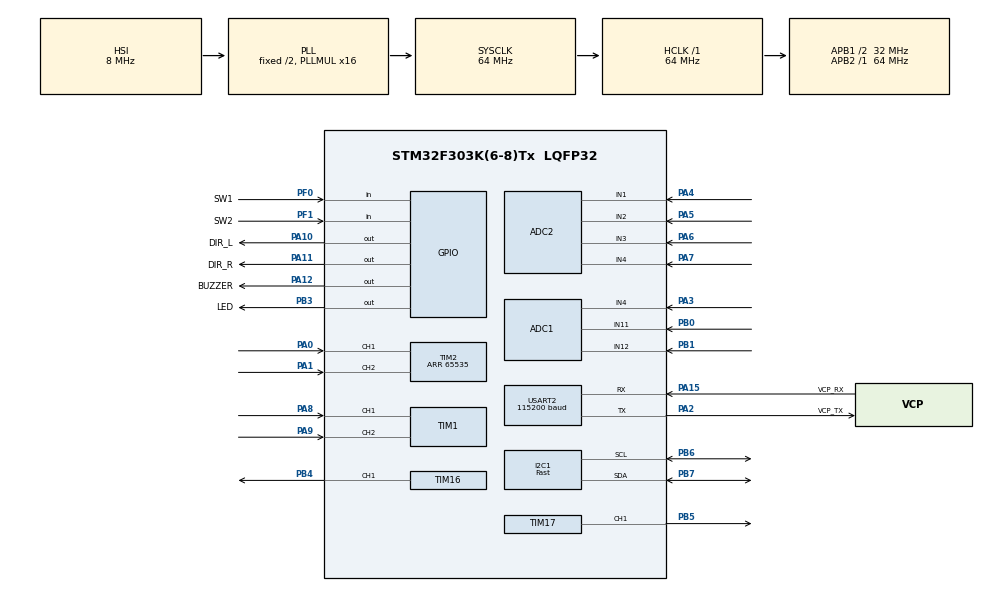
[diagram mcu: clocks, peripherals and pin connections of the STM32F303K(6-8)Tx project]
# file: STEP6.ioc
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ADC1.Channel-3\#ChannelRegularConversion=ADC_CHANNEL_4
ADC1.Channel-4\#ChannelRegularConversion=ADC_CHANNEL_11
ADC1.Channel-5\#ChannelRegularConversion=ADC_CHANNEL_12
ADC1.ContinuousConvMode=DISABLE
ADC1.DMAContinuousRequests=ENABLE
ADC1.DiscontinuousConvMode=ENABLE
ADC1.ExternalTrigConv=ADC_EXTERNALTRIGCONV_T3_TRGO
ADC1.NbrOfConversion=3
ADC1.NbrOfConversionFlag=1
ADC1.NbrOfDiscConversion=3
ADC1.Offset-3\#ChannelRegularConversion=0
ADC1.Offset-4\#ChannelRegularConversion=0
ADC1.Offset-5\#ChannelRegularConversion=0
ADC1.OffsetNumber-3\#ChannelRegularConversion=ADC_OFFSET_NONE
ADC1.OffsetNumber-4\#ChannelRegularConversion=ADC_OFFSET_NONE
ADC1.OffsetNumber-5\#ChannelRegularConversion=ADC_OFFSET_NONE
ADC1.Rank-3\#ChannelRegularConversion=1
ADC1.Rank-4\#ChannelRegularConversion=2
ADC1.Rank-5\#ChannelRegularConversion=3
ADC1.SamplingTime-3\#ChannelRegularConversion=ADC_SAMPLETIME_4CYCLES_5
ADC1.SamplingTime-4\#ChannelRegularConversion=ADC_SAMPLETIME_4CYCLES_5
ADC1.SamplingTime-5\#ChannelRegularConversion=ADC_SAMPLETIME_4CYCLES_5
ADC1.SubFamily=STM32F303x8
ADC1.master=1
ADC2.Channel-3\#ChannelRegularConversion=ADC_CHANNEL_1
ADC2.Channel-4\#ChannelRegularConversion=ADC_CHANNEL_2
ADC2.Channel-5\#ChannelRegularConversion=ADC_CHANNEL_3
ADC2.Channel-6\#ChannelRegularConversion=ADC_CHANNEL_4
ADC2.ContinuousConvMode=DISABLE
ADC2.DMAContinuousRequests=ENABLE
ADC2.DiscontinuousConvMode=ENABLE
ADC2.ExternalTrigConv=ADC_EXTERNALTRIGCONV_T3_TRGO
ADC2.NbrOfConversion=4
ADC2.NbrOfConversionFlag=1
ADC2.NbrOfDiscConversion=4
ADC2.Offset-3\#ChannelRegularConversion=0
ADC2.Offset-4\#ChannelRegularConversion=0
ADC2.Offset-5\#ChannelRegularConversion=0
ADC2.Offset-6\#ChannelRegularConversion=0
ADC2.OffsetNumber-3\#ChannelRegularConversion=ADC_OFFSET_NONE
ADC2.OffsetNumber-4\#ChannelRegularConversion=ADC_OFFSET_NONE
ADC2.OffsetNumber-5\#ChannelRegularConversion=ADC_OFFSET_NONE
ADC2.OffsetNumber-6\#ChannelRegularConversion=ADC_OFFSET_NONE
ADC2.Rank-3\#ChannelRegularConversion=1
ADC2.Rank-4\#ChannelRegularConversion=2
ADC2.Rank-5\#ChannelRegularConversion=3
ADC2.Rank-6\#ChannelRegularConversion=4
ADC2.SamplingTime-3\#ChannelRegularConversion=ADC_SAMPLETIME_4CYCLES_5
ADC2.SamplingTime-4\#ChannelRegularConversion=ADC_SAMPLETIME_4CYCLES_5
ADC2.SamplingTime-5\#ChannelRegularConversion=ADC_SAMPLETIME_4CYCLES_5
ADC2.SamplingTime-6\#ChannelRegularConversion=ADC_SAMPLETIME_4CYCLES_5
ADC2.SubFamily=STM32F303x8
Dma.ADC1.0.Direction=DMA_PERIPH_TO_MEMORY
Dma.ADC1.0.Instance=DMA1_Channel1
Dma.ADC1.0.MemDataAlignment=DMA_MDATAALIGN_HALFWORD
Dma.ADC1.0.MemInc=DMA_MINC_ENABLE
Dma.ADC1.0.Mode=DMA_CIRCULAR
Dma.ADC1.0.PeriphDataAlignment=DMA_PDATAALIGN_HALFWORD
Dma.ADC1.0.PeriphInc=DMA_PINC_DISABLE
Dma.ADC1.0.Priority=DMA_PRIORITY_LOW
Dma.ADC2.1.Direction=DMA_PERIPH_TO_MEMORY
Dma.ADC2.1.Instance=DMA1_Channel2
Dma.ADC2.1.MemDataAlignment=DMA_MDATAALIGN_HALFWORD
Dma.ADC2.1.MemInc=DMA_MINC_ENABLE
Dma.ADC2.1.Mode=DMA_CIRCULAR
Dma.ADC2.1.PeriphDataAlignment=DMA_PDATAALIGN_HALFWORD
Dma.ADC2.1.PeriphInc=DMA_PINC_DISABLE
Dma.ADC2.1.Priority=DMA_PRIORITY_LOW
Dma.I2C1_RX.2.Direction=DMA_PERIPH_TO_MEMORY
Dma.I2C1_RX.2.Instance=DMA1_Channel3
Dma.I2C1_RX.2.MemDataAlignment=DMA_MDATAALIGN_BYTE
Dma.I2C1_RX.2.MemInc=DMA_MINC_ENABLE
Dma.I2C1_RX.2.Mode=DMA_NORMAL
Dma.I2C1_RX.2.PeriphDataAlignment=DMA_PDATAALIGN_BYTE
Dma.I2C1_RX.2.PeriphInc=DMA_PINC_DISABLE
Dma.I2C1_RX.2.Priority=DMA_PRIORITY_LOW
Dma.I2C1_TX.3.Direction=DMA_MEMORY_TO_PERIPH
Dma.I2C1_TX.3.Instance=DMA1_Channel4
Dma.I2C1_TX.3.MemDataAlignment=DMA_MDATAALIGN_BYTE
Dma.I2C1_TX.3.MemInc=DMA_MINC_ENABLE
Dma.I2C1_TX.3.Mode=DMA_NORMAL
Dma.I2C1_TX.3.PeriphDataAlignment=DMA_PDATAALIGN_BYTE
Dma.I2C1_TX.3.PeriphInc=DMA_PINC_DISABLE
Dma.I2C1_TX.3.Priority=DMA_PRIORITY_LOW
Dma.Request0=ADC1
Dma.Request1=ADC2
Dma.Request2=I2C1_RX
Dma.Request3=I2C1_TX
I2C1.Analog_Filter=I2C_ANALOGFILTER_ENABLE
I2C1.I2C_Speed_Mode=I2C_Fast
I2C1.Speed=400
I2C1.Timing=0x0000020B
Mcu.Family=STM32F3
Mcu.Name=STM32F303K(6-8)Tx
Mcu.Package=LQFP32
NVIC.DMA1_Channel1_IRQn=true\:0\:0\:false\:false\:true\:false\:true\:true
NVIC.DMA1_Channel2_IRQn=true\:0\:0\:false\:false\:true\:false\:true\:true
NVIC.DMA1_Channel3_IRQn=true\:0\:0\:false\:false\:true\:false\:true\:true
NVIC.DMA1_Channel4_IRQn=true\:0\:0\:false\:false\:true\:false\:true\:true
NVIC.I2C1_EV_IRQn=true\:0\:0\:false\:false\:true\:true\:true\:true
NVIC.PriorityGroup=NVIC_PRIORITYGROUP_4
NVIC.TIM6_DAC1_IRQn=true\:0\:0\:false\:false\:true\:true\:true\:true
NVIC.TIM7_DAC2_IRQn=true\:0\:0\:false\:false\:true\:true\:true\:true
PA0.Signal=S_TIM2_CH1_ETR
PA1.Signal=S_TIM2_CH2
PA10.GPIO_Label=DIR_L
PA10.Signal=GPIO_Output
PA11.GPIO_Label=DIR_R
PA11.Signal=GPIO_Output
PA12.GPIO_Label=BUZZER
PA12.Signal=GPIO_Output
PA13.GPIO_Label=SWDIO
PA13.Mode=Serial_Wire
PA13.Signal=SYS_JTMS-SWDIO
PA14.GPIO_Label=SWCLK
PA14.Mode=Serial_Wire
PA14.Signal=SYS_JTCK-SWCLK
PA15.GPIO_Label=VCP_RX
PA15.Mode=Asynchronous
PA15.Signal=USART2_RX
PA2.GPIO_Label=VCP_TX
PA2.Mode=Asynchronous
PA2.Signal=USART2_TX
PA3.Mode=IN4-Single-Ended
PA3.Signal=ADC1_IN4
PA4.Mode=IN1-Single-Ended
PA4.Signal=ADC2_IN1
PA5.Mode=IN2-Single-Ended
PA5.Signal=ADC2_IN2
PA6.Mode=IN3-Single-Ended
PA6.Signal=ADC2_IN3
PA7.Mode=IN4-Single-Ended
PA7.Signal=ADC2_IN4
PA8.Signal=S_TIM1_CH1
PA9.Signal=S_TIM1_CH2
PB0.Mode=IN11-Single-Ended
PB0.Signal=ADC1_IN11
PB1.Mode=IN12-Single-Ended
PB1.Signal=ADC1_IN12
PB3.GPIO_Label=LED
PB3.Signal=GPIO_Output
PB4.Signal=S_TIM16_CH1
PB5.Signal=S_TIM17_CH1
PB6.GPIO_Pu=GPIO_PULLUP
PB6.Mode=I2C
PB6.Signal=I2C1_SCL
PB7.GPIO_Pu=GPIO_PULLUP
PB7.Mode=I2C
PB7.Signal=I2C1_SDA
PF0\ /\ OSC_IN.GPIO_Label=SW1
PF0\ /\ OSC_IN.GPIO_PuPd=GPIO_PULLUP
PF0\ /\ OSC_IN.Signal=GPIO_Input
PF1\ /\ OSC_OUT.GPIO_Label=SW2
PF1\ /\ OSC_OUT.GPIO_PuPd=GPIO_PULLUP
PF1\ /\ OSC_OUT.Signal=GPIO_Input
ProjectManager.HeapSize=0x200
ProjectManager.StackSize=0x400
ProjectManager.TargetToolchain=STM32CubeIDE
RCC.AHBFreq_Value=64000000
RCC.APB1CLKDivider=RCC_HCLK_DIV2
RCC.APB1Freq_Value=32000000
RCC.APB1TimFreq_Value=64000000
RCC.APB2Freq_Value=64000000
RCC.APB2TimFreq_Value=64000000
RCC.CortexFreq_Value=64000000
RCC.HCLKFreq_Value=64000000
RCC.HSE_VALUE=8000000
RCC.HSI_VALUE=8000000
RCC.PLLMUL=RCC_PLL_MUL16
RCC.SYSCLKFreq_VALUE=64000000
RCC.SYSCLKSourceVirtual=RCC_SYSCLKSOURCE_PLLCLK
SH.S_TIM16_CH1.0=TIM16_CH1,PWM Generation1 CH1
SH.S_TIM17_CH1.0=TIM17_CH1,PWM Generation1 CH1
SH.S_TIM1_CH1.0=TIM1_CH1,Encoder_Interface
SH.S_TIM1_CH2.0=TIM1_CH2,Encoder_Interface
SH.S_TIM2_CH1_ETR.0=TIM2_CH1,Encoder_Interface
SH.S_TIM2_CH2.0=TIM2_CH2,Encoder_Interface
TIM1.AutoReloadPreload=TIM_AUTORELOAD_PRELOAD_ENABLE
TIM1.EncoderMode=TIM_ENCODERMODE_TI12
TIM16.AutoReloadPreload=TIM_AUTORELOAD_PRELOAD_ENABLE
TIM16.Channel=TIM_CHANNEL_1
TIM16.Period=3199
TIM16.Pulse=599
TIM17.AutoReloadPreload=TIM_AUTORELOAD_PRELOAD_ENABLE
TIM17.Channel=TIM_CHANNEL_1
TIM17.Period=3199
TIM17.Prescaler=0
TIM17.Pulse=599
TIM2.AutoReloadPreload=TIM_AUTORELOAD_PRELOAD_ENABLE
TIM2.EncoderMode=TIM_ENCODERMODE_TI12
TIM2.Period=65535
TIM3.AutoReloadPreload=TIM_AUTORELOAD_PRELOAD_ENABLE
TIM3.Period=999
TIM3.Prescaler=63
TIM3.TIM_MasterOutputTrigger=TIM_TRGO_UPDATE
TIM6.AutoReloadPreload=TIM_AUTORELOAD_PRELOAD_ENABLE
TIM6.Period=499
TIM6.Prescaler=63
TIM7.AutoReloadPreload=TIM_AUTORELOAD_PRELOAD_ENABLE
TIM7.Period=9999
TIM7.Prescaler=63
USART2.BaudRate=115200
USART2.VirtualMode-Asynchronous=VM_ASYNC
VP_TIM16_VS_ClockSourceINT.Mode=Enable_Timer
VP_TIM17_VS_ClockSourceINT.Mode=Enable_Timer
VP_TIM3_VS_ClockSourceINT.Mode=Internal
VP_TIM6_VS_ClockSourceINT.Mode=Enable_Timer
VP_TIM7_VS_ClockSourceINT.Mode=Enable_Timer
board=NUCLEO-F303K8

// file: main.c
/* USER CODE BEGIN Header */
/**
  ******************************************************************************
  * @file           : main.c
  * @brief          : Main program body
  ******************************************************************************
  * @attention
  *
  * Copyright (c) 2020 RT Corporation
  * License: Apache License, Version 2.0
  * https://www.apache.org/licenses/LICENSE-2.0
  *
  * This file is licensed the Apache License, Version 2.0.
  * This file is based on the auto generated template .c file
  * released by STMicroelectronics licensed under the BSD 3-Clause License.
  *
  *=*=*=*=*=*=*=*=*=*=*=*=*=*=*=*=*=*=*=*=*=*=*=*=*=*=*=*=*=*=*=*=*=*=*=*=*=*=
  * <h2><center>&copy; Copyright (c) 2020 STMicroelectronics.
  * All rights reserved.</center></h2>
  *
  * This software component is licensed by ST under BSD 3-Clause license,
  * the "License"; You may not use this file except in compliance with the
  * License. You may obtain a copy of the License at:
  *                        opensource.org/licenses/BSD-3-Clause
  *=*=*=*=*=*=*=*=*=*=*=*=*=*=*=*=*=*=*=*=*=*=*=*=*=*=*=*=*=*=*=*=*=*=*=*=*=*=
  *
  ******************************************************************************
  */
/* USER CODE END Header */
#include "main.h"

/* USER CODE BEGIN PD */
#define CW_R 0
#define CCW_R 1
#define CW_L 1
#define CCW_L 0
/* USER CODE END PD */

ADC_HandleTypeDef hadc1;
ADC_HandleTypeDef hadc2;
DMA_HandleTypeDef hdma_adc1;
DMA_HandleTypeDef hdma_adc2;

I2C_HandleTypeDef hi2c1;
DMA_HandleTypeDef hdma_i2c1_rx;
DMA_HandleTypeDef hdma_i2c1_tx;

TIM_HandleTypeDef htim1;
TIM_HandleTypeDef htim2;
TIM_HandleTypeDef htim3;
TIM_HandleTypeDef htim6;
TIM_HandleTypeDef htim7;
TIM_HandleTypeDef htim16;
TIM_HandleTypeDef htim17;

UART_HandleTypeDef huart2;

void SystemClock_Config(void);
static void MX_GPIO_Init(void);
static void MX_DMA_Init(void);
static void MX_USART2_UART_Init(void);
static void MX_I2C1_Init(void);
static void MX_TIM2_Init(void);
static void MX_TIM17_Init(void);
static void MX_ADC1_Init(void);
static void MX_ADC2_Init(void);
static void MX_TIM3_Init(void);
static void MX_TIM6_Init(void);
static void MX_TIM7_Init(void);
static void MX_TIM16_Init(void);
static void MX_TIM1_Init(void);
/* USER CODE BEGIN PFP */

int pwm = 0;

/* USER CODE END PFP */

int main(void)
{

  /* MCU Configuration--------------------------------------------------------*/

  /* Reset of all peripherals, Initializes the Flash interface and the Systick. */
  HAL_Init();

  /* Configure the system clock */
  SystemClock_Config();

  /* Initialize all configured peripherals */
  MX_GPIO_Init();
  MX_DMA_Init();
  MX_USART2_UART_Init();
  MX_I2C1_Init();
  MX_TIM2_Init();
  MX_TIM17_Init();
  MX_ADC1_Init();
  MX_ADC2_Init();
  MX_TIM3_Init();
  MX_TIM6_Init();
  MX_TIM7_Init();
  MX_TIM16_Init();
  MX_TIM1_Init();
  /* USER CODE BEGIN 2 */
  HAL_GPIO_WritePin(DIR_R_GPIO_Port, DIR_R_Pin, CW_R);
  HAL_GPIO_WritePin(DIR_L_GPIO_Port, DIR_L_Pin, CW_L);
  HAL_TIM_PWM_Start(&htim16, TIM_CHANNEL_1);
  HAL_TIM_PWM_Start(&htim17, TIM_CHANNEL_1);
  TIM16->CCR1 = 0;
  TIM17->CCR1 = 0;

  /* USER CODE END 2 */

  /* Infinite loop */
  /* USER CODE BEGIN WHILE */
  while (1) {
    if (HAL_GPIO_ReadPin(SW1_GPIO_Port, SW1_Pin) == 0) {
      HAL_Delay(200);
      pwm += 128;
      if (pwm > 3199) {
        pwm = 3199;
      }
      TIM16->CCR1 = pwm;
      TIM17->CCR1 = pwm;
    }
    if (HAL_GPIO_ReadPin(SW2_GPIO_Port, SW2_Pin) == 0) {
      HAL_Delay(200);
      pwm -= 128;
      if (pwm < 0) {
        pwm = 0;
      }
      TIM16->CCR1 = pwm;
      TIM17->CCR1 = pwm;
    }

    /* USER CODE END WHILE */

  }
}

void SystemClock_Config(void)
{
  RCC_OscInitTypeDef RCC_OscInitStruct = {0};
  RCC_ClkInitTypeDef RCC_ClkInitStruct = {0};
  RCC_PeriphCLKInitTypeDef PeriphClkInit = {0};

  /** Initializes the RCC Oscillators according to the specified parameters
  * in the RCC_OscInitTypeDef structure.
  */
  RCC_OscInitStruct.OscillatorType = RCC_OSCILLATORTYPE_HSI;
  RCC_OscInitStruct.HSIState = RCC_HSI_ON;
  RCC_OscInitStruct.HSICalibrationValue = RCC_HSICALIBRATION_DEFAULT;
  RCC_OscInitStruct.PLL.PLLState = RCC_PLL_ON;
  RCC_OscInitStruct.PLL.PLLSource = RCC_PLLSOURCE_HSI;
  RCC_OscInitStruct.PLL.PLLMUL = RCC_PLL_MUL16;
  if (HAL_RCC_OscConfig(&RCC_OscInitStruct) != HAL_OK) {
    Error_Handler();
  }

  /** Initializes the CPU, AHB and APB buses clocks
  */
  RCC_ClkInitStruct.ClockType =
    RCC_CLOCKTYPE_HCLK | RCC_CLOCKTYPE_SYSCLK | RCC_CLOCKTYPE_PCLK1 | RCC_CLOCKTYPE_PCLK2;
  RCC_ClkInitStruct.SYSCLKSource = RCC_SYSCLKSOURCE_PLLCLK;
  RCC_ClkInitStruct.AHBCLKDivider = RCC_SYSCLK_DIV1;
  RCC_ClkInitStruct.APB1CLKDivider = RCC_HCLK_DIV2;
  RCC_ClkInitStruct.APB2CLKDivider = RCC_HCLK_DIV1;

  if (HAL_RCC_ClockConfig(&RCC_ClkInitStruct, FLASH_LATENCY_2) != HAL_OK) {
    Error_Handler();
  }
  PeriphClkInit.PeriphClockSelection =
    RCC_PERIPHCLK_I2C1 | RCC_PERIPHCLK_TIM1 | RCC_PERIPHCLK_ADC12;
  PeriphClkInit.Adc12ClockSelection = RCC_ADC12PLLCLK_DIV1;
  PeriphClkInit.I2c1ClockSelection = RCC_I2C1CLKSOURCE_HSI;
  PeriphClkInit.Tim1ClockSelection = RCC_TIM1CLK_HCLK;
  if (HAL_RCCEx_PeriphCLKConfig(&PeriphClkInit) != HAL_OK) {
    Error_Handler();
  }
}

static void MX_ADC1_Init(void)
{

  ADC_MultiModeTypeDef multimode = {0};
  ADC_ChannelConfTypeDef sConfig = {0};

  /** Common config
  */
  hadc1.Instance = ADC1;
  hadc1.Init.ClockPrescaler = ADC_CLOCK_ASYNC_DIV1;
  hadc1.Init.Resolution = ADC_RESOLUTION_12B;
  hadc1.Init.ScanConvMode = ADC_SCAN_ENABLE;
  hadc1.Init.ContinuousConvMode = DISABLE;
  hadc1.Init.DiscontinuousConvMode = ENABLE;
  hadc1.Init.NbrOfDiscConversion = 3;
  hadc1.Init.ExternalTrigConvEdge = ADC_EXTERNALTRIGCONVEDGE_RISING;
  hadc1.Init.ExternalTrigConv = ADC_EXTERNALTRIGCONV_T3_TRGO;
  hadc1.Init.DataAlign = ADC_DATAALIGN_RIGHT;
  hadc1.Init.NbrOfConversion = 3;
  hadc1.Init.DMAContinuousRequests = ENABLE;
  hadc1.Init.EOCSelection = ADC_EOC_SINGLE_CONV;
  hadc1.Init.LowPowerAutoWait = DISABLE;
  hadc1.Init.Overrun = ADC_OVR_DATA_OVERWRITTEN;
  if (HAL_ADC_Init(&hadc1) != HAL_OK) {
    Error_Handler();
  }

  /** Configure the ADC multi-mode
  */
  multimode.Mode = ADC_MODE_INDEPENDENT;
  if (HAL_ADCEx_MultiModeConfigChannel(&hadc1, &multimode) != HAL_OK) {
    Error_Handler();
  }

  /** Configure Regular Channel
  */
  sConfig.Channel = ADC_CHANNEL_4;
  sConfig.Rank = ADC_REGULAR_RANK_1;
  sConfig.SingleDiff = ADC_SINGLE_ENDED;
  sConfig.SamplingTime = ADC_SAMPLETIME_4CYCLES_5;
  sConfig.OffsetNumber = ADC_OFFSET_NONE;
  sConfig.Offset = 0;
  if (HAL_ADC_ConfigChannel(&hadc1, &sConfig) != HAL_OK) {
    Error_Handler();
  }

  /** Configure Regular Channel
  */
  sConfig.Channel = ADC_CHANNEL_11;
  sConfig.Rank = ADC_REGULAR_RANK_2;
  if (HAL_ADC_ConfigChannel(&hadc1, &sConfig) != HAL_OK) {
    Error_Handler();
  }

  /** Configure Regular Channel
  */
  sConfig.Channel = ADC_CHANNEL_12;
  sConfig.Rank = ADC_REGULAR_RANK_3;
  if (HAL_ADC_ConfigChannel(&hadc1, &sConfig) != HAL_OK) {
    Error_Handler();
  }
}

static void MX_ADC2_Init(void)
{

  ADC_ChannelConfTypeDef sConfig = {0};

  /** Common config
  */
  hadc2.Instance = ADC2;
  hadc2.Init.ClockPrescaler = ADC_CLOCK_ASYNC_DIV1;
  hadc2.Init.Resolution = ADC_RESOLUTION_12B;
  hadc2.Init.ScanConvMode = ADC_SCAN_ENABLE;
  hadc2.Init.ContinuousConvMode = DISABLE;
  hadc2.Init.DiscontinuousConvMode = ENABLE;
  hadc2.Init.NbrOfDiscConversion = 4;
  hadc2.Init.ExternalTrigConvEdge = ADC_EXTERNALTRIGCONVEDGE_RISING;
  hadc2.Init.ExternalTrigConv = ADC_EXTERNALTRIGCONV_T3_TRGO;
  hadc2.Init.DataAlign = ADC_DATAALIGN_RIGHT;
  hadc2.Init.NbrOfConversion = 4;
  hadc2.Init.DMAContinuousRequests = ENABLE;
  hadc2.Init.EOCSelection = ADC_EOC_SINGLE_CONV;
  hadc2.Init.LowPowerAutoWait = DISABLE;
  hadc2.Init.Overrun = ADC_OVR_DATA_OVERWRITTEN;
  if (HAL_ADC_Init(&hadc2) != HAL_OK) {
    Error_Handler();
  }

  /** Configure Regular Channel
  */
  sConfig.Channel = ADC_CHANNEL_1;
  sConfig.Rank = ADC_REGULAR_RANK_1;
  sConfig.SingleDiff = ADC_SINGLE_ENDED;
  sConfig.SamplingTime = ADC_SAMPLETIME_4CYCLES_5;
  sConfig.OffsetNumber = ADC_OFFSET_NONE;
  sConfig.Offset = 0;
  if (HAL_ADC_ConfigChannel(&hadc2, &sConfig) != HAL_OK) {
    Error_Handler();
  }

  /** Configure Regular Channel
  */
  sConfig.Channel = ADC_CHANNEL_2;
  sConfig.Rank = ADC_REGULAR_RANK_2;
  if (HAL_ADC_ConfigChannel(&hadc2, &sConfig) != HAL_OK) {
    Error_Handler();
  }

  /** Configure Regular Channel
  */
  sConfig.Channel = ADC_CHANNEL_3;
  sConfig.Rank = ADC_REGULAR_RANK_3;
  if (HAL_ADC_ConfigChannel(&hadc2, &sConfig) != HAL_OK) {
    Error_Handler();
  }

  /** Configure Regular Channel
  */
  sConfig.Channel = ADC_CHANNEL_4;
  sConfig.Rank = ADC_REGULAR_RANK_4;
  if (HAL_ADC_ConfigChannel(&hadc2, &sConfig) != HAL_OK) {
    Error_Handler();
  }
}

static void MX_I2C1_Init(void)
{

  hi2c1.Instance = I2C1;
  hi2c1.Init.Timing = 0x0000020B;
  hi2c1.Init.OwnAddress1 = 0;
  hi2c1.Init.AddressingMode = I2C_ADDRESSINGMODE_7BIT;
  hi2c1.Init.DualAddressMode = I2C_DUALADDRESS_DISABLE;
  hi2c1.Init.OwnAddress2 = 0;
  hi2c1.Init.OwnAddress2Masks = I2C_OA2_NOMASK;
  hi2c1.Init.GeneralCallMode = I2C_GENERALCALL_DISABLE;
  hi2c1.Init.NoStretchMode = I2C_NOSTRETCH_DISABLE;
  if (HAL_I2C_Init(&hi2c1) != HAL_OK) {
    Error_Handler();
  }

  /** Configure Analogue filter
  */
  if (HAL_I2CEx_ConfigAnalogFilter(&hi2c1, I2C_ANALOGFILTER_ENABLE) != HAL_OK) {
    Error_Handler();
  }

  /** Configure Digital filter
  */
  if (HAL_I2CEx_ConfigDigitalFilter(&hi2c1, 0) != HAL_OK) {
    Error_Handler();
  }
}

static void MX_TIM1_Init(void)
{

  TIM_Encoder_InitTypeDef sConfig = {0};
  TIM_MasterConfigTypeDef sMasterConfig = {0};

  htim1.Instance = TIM1;
  htim1.Init.Prescaler = 0;
  htim1.Init.CounterMode = TIM_COUNTERMODE_UP;
  htim1.Init.Period = 65535;
  htim1.Init.ClockDivision = TIM_CLOCKDIVISION_DIV1;
  htim1.Init.RepetitionCounter = 0;
  htim1.Init.AutoReloadPreload = TIM_AUTORELOAD_PRELOAD_ENABLE;
  sConfig.EncoderMode = TIM_ENCODERMODE_TI12;
  sConfig.IC1Polarity = TIM_ICPOLARITY_RISING;
  sConfig.IC1Selection = TIM_ICSELECTION_DIRECTTI;
  sConfig.IC1Prescaler = TIM_ICPSC_DIV1;
  sConfig.IC1Filter = 0;
  sConfig.IC2Polarity = TIM_ICPOLARITY_RISING;
  sConfig.IC2Selection = TIM_ICSELECTION_DIRECTTI;
  sConfig.IC2Prescaler = TIM_ICPSC_DIV1;
  sConfig.IC2Filter = 0;
  if (HAL_TIM_Encoder_Init(&htim1, &sConfig) != HAL_OK) {
    Error_Handler();
  }
  sMasterConfig.MasterOutputTrigger = TIM_TRGO_RESET;
  sMasterConfig.MasterOutputTrigger2 = TIM_TRGO2_RESET;
  sMasterConfig.MasterSlaveMode = TIM_MASTERSLAVEMODE_DISABLE;
  if (HAL_TIMEx_MasterConfigSynchronization(&htim1, &sMasterConfig) != HAL_OK) {
    Error_Handler();
  }
}

static void MX_TIM2_Init(void)
{

  TIM_Encoder_InitTypeDef sConfig = {0};
  TIM_MasterConfigTypeDef sMasterConfig = {0};

  htim2.Instance = TIM2;
  htim2.Init.Prescaler = 0;
  htim2.Init.CounterMode = TIM_COUNTERMODE_UP;
  htim2.Init.Period = 65535;
  htim2.Init.ClockDivision = TIM_CLOCKDIVISION_DIV1;
  htim2.Init.AutoReloadPreload = TIM_AUTORELOAD_PRELOAD_ENABLE;
  sConfig.EncoderMode = TIM_ENCODERMODE_TI12;
  sConfig.IC1Polarity = TIM_ICPOLARITY_RISING;
  sConfig.IC1Selection = TIM_ICSELECTION_DIRECTTI;
  sConfig.IC1Prescaler = TIM_ICPSC_DIV1;
  sConfig.IC1Filter = 0;
  sConfig.IC2Polarity = TIM_ICPOLARITY_RISING;
  sConfig.IC2Selection = TIM_ICSELECTION_DIRECTTI;
  sConfig.IC2Prescaler = TIM_ICPSC_DIV1;
  sConfig.IC2Filter = 0;
  if (HAL_TIM_Encoder_Init(&htim2, &sConfig) != HAL_OK) {
    Error_Handler();
  }
  sMasterConfig.MasterOutputTrigger = TIM_TRGO_RESET;
  sMasterConfig.MasterSlaveMode = TIM_MASTERSLAVEMODE_DISABLE;
  if (HAL_TIMEx_MasterConfigSynchronization(&htim2, &sMasterConfig) != HAL_OK) {
    Error_Handler();
  }
}

static void MX_TIM3_Init(void)
{

  TIM_ClockConfigTypeDef sClockSourceConfig = {0};
  TIM_MasterConfigTypeDef sMasterConfig = {0};

  htim3.Instance = TIM3;
  htim3.Init.Prescaler = 63;
  htim3.Init.CounterMode = TIM_COUNTERMODE_UP;
  htim3.Init.Period = 999;
  htim3.Init.ClockDivision = TIM_CLOCKDIVISION_DIV1;
  htim3.Init.AutoReloadPreload = TIM_AUTORELOAD_PRELOAD_ENABLE;
  if (HAL_TIM_Base_Init(&htim3) != HAL_OK) {
    Error_Handler();
  }
  sClockSourceConfig.ClockSource = TIM_CLOCKSOURCE_INTERNAL;
  if (HAL_TIM_ConfigClockSource(&htim3, &sClockSourceConfig) != HAL_OK) {
    Error_Handler();
  }
  sMasterConfig.MasterOutputTrigger = TIM_TRGO_UPDATE;
  sMasterConfig.MasterSlaveMode = TIM_MASTERSLAVEMODE_DISABLE;
  if (HAL_TIMEx_MasterConfigSynchronization(&htim3, &sMasterConfig) != HAL_OK) {
    Error_Handler();
  }
}

static void MX_TIM6_Init(void)
{

  TIM_MasterConfigTypeDef sMasterConfig = {0};

  htim6.Instance = TIM6;
  htim6.Init.Prescaler = 63;
  htim6.Init.CounterMode = TIM_COUNTERMODE_UP;
  htim6.Init.Period = 499;
  htim6.Init.AutoReloadPreload = TIM_AUTORELOAD_PRELOAD_ENABLE;
  if (HAL_TIM_Base_Init(&htim6) != HAL_OK) {
    Error_Handler();
  }
  sMasterConfig.MasterOutputTrigger = TIM_TRGO_RESET;
  sMasterConfig.MasterSlaveMode = TIM_MASTERSLAVEMODE_DISABLE;
  if (HAL_TIMEx_MasterConfigSynchronization(&htim6, &sMasterConfig) != HAL_OK) {
    Error_Handler();
  }
}

static void MX_TIM7_Init(void)
{

  TIM_MasterConfigTypeDef sMasterConfig = {0};

  htim7.Instance = TIM7;
  htim7.Init.Prescaler = 63;
  htim7.Init.CounterMode = TIM_COUNTERMODE_UP;
  htim7.Init.Period = 9999;
  htim7.Init.AutoReloadPreload = TIM_AUTORELOAD_PRELOAD_ENABLE;
  if (HAL_TIM_Base_Init(&htim7) != HAL_OK) {
    Error_Handler();
  }
  sMasterConfig.MasterOutputTrigger = TIM_TRGO_RESET;
  sMasterConfig.MasterSlaveMode = TIM_MASTERSLAVEMODE_DISABLE;
  if (HAL_TIMEx_MasterConfigSynchronization(&htim7, &sMasterConfig) != HAL_OK) {
    Error_Handler();
  }
}

static void MX_TIM16_Init(void)
{

  TIM_OC_InitTypeDef sConfigOC = {0};
  TIM_BreakDeadTimeConfigTypeDef sBreakDeadTimeConfig = {0};

  htim16.Instance = TIM16;
  htim16.Init.Prescaler = 0;
  htim16.Init.CounterMode = TIM_COUNTERMODE_UP;
  htim16.Init.Period = 3199;
  htim16.Init.ClockDivision = TIM_CLOCKDIVISION_DIV1;
  htim16.Init.RepetitionCounter = 0;
  htim16.Init.AutoReloadPreload = TIM_AUTORELOAD_PRELOAD_ENABLE;
  if (HAL_TIM_Base_Init(&htim16) != HAL_OK) {
    Error_Handler();
  }
  if (HAL_TIM_PWM_Init(&htim16) != HAL_OK) {
    Error_Handler();
  }
  sConfigOC.OCMode = TIM_OCMODE_PWM1;
  sConfigOC.Pulse = 599;
  sConfigOC.OCPolarity = TIM_OCPOLARITY_HIGH;
  sConfigOC.OCNPolarity = TIM_OCNPOLARITY_HIGH;
  sConfigOC.OCFastMode = TIM_OCFAST_DISABLE;
  sConfigOC.OCIdleState = TIM_OCIDLESTATE_RESET;
  sConfigOC.OCNIdleState = TIM_OCNIDLESTATE_RESET;
  if (HAL_TIM_PWM_ConfigChannel(&htim16, &sConfigOC, TIM_CHANNEL_1) != HAL_OK) {
    Error_Handler();
  }
  sBreakDeadTimeConfig.OffStateRunMode = TIM_OSSR_DISABLE;
  sBreakDeadTimeConfig.OffStateIDLEMode = TIM_OSSI_DISABLE;
  sBreakDeadTimeConfig.LockLevel = TIM_LOCKLEVEL_OFF;
  sBreakDeadTimeConfig.DeadTime = 0;
  sBreakDeadTimeConfig.BreakState = TIM_BREAK_DISABLE;
  sBreakDeadTimeConfig.BreakPolarity = TIM_BREAKPOLARITY_HIGH;
  sBreakDeadTimeConfig.BreakFilter = 0;
  sBreakDeadTimeConfig.AutomaticOutput = TIM_AUTOMATICOUTPUT_DISABLE;
  if (HAL_TIMEx_ConfigBreakDeadTime(&htim16, &sBreakDeadTimeConfig) != HAL_OK) {
    Error_Handler();
  }
  HAL_TIM_MspPostInit(&htim16);
}

static void MX_TIM17_Init(void)
{

  TIM_OC_InitTypeDef sConfigOC = {0};
  TIM_BreakDeadTimeConfigTypeDef sBreakDeadTimeConfig = {0};

  htim17.Instance = TIM17;
  htim17.Init.Prescaler = 0;
  htim17.Init.CounterMode = TIM_COUNTERMODE_UP;
  htim17.Init.Period = 3199;
  htim17.Init.ClockDivision = TIM_CLOCKDIVISION_DIV1;
  htim17.Init.RepetitionCounter = 0;
  htim17.Init.AutoReloadPreload = TIM_AUTORELOAD_PRELOAD_ENABLE;
  if (HAL_TIM_Base_Init(&htim17) != HAL_OK) {
    Error_Handler();
  }
  if (HAL_TIM_PWM_Init(&htim17) != HAL_OK) {
    Error_Handler();
  }
  sConfigOC.OCMode = TIM_OCMODE_PWM1;
  sConfigOC.Pulse = 599;
  sConfigOC.OCPolarity = TIM_OCPOLARITY_HIGH;
  sConfigOC.OCNPolarity = TIM_OCNPOLARITY_HIGH;
  sConfigOC.OCFastMode = TIM_OCFAST_DISABLE;
  sConfigOC.OCIdleState = TIM_OCIDLESTATE_RESET;
  sConfigOC.OCNIdleState = TIM_OCNIDLESTATE_RESET;
  if (HAL_TIM_PWM_ConfigChannel(&htim17, &sConfigOC, TIM_CHANNEL_1) != HAL_OK) {
    Error_Handler();
  }
  sBreakDeadTimeConfig.OffStateRunMode = TIM_OSSR_DISABLE;
  sBreakDeadTimeConfig.OffStateIDLEMode = TIM_OSSI_DISABLE;
  sBreakDeadTimeConfig.LockLevel = TIM_LOCKLEVEL_OFF;
  sBreakDeadTimeConfig.DeadTime = 0;
  sBreakDeadTimeConfig.BreakState = TIM_BREAK_DISABLE;
  sBreakDeadTimeConfig.BreakPolarity = TIM_BREAKPOLARITY_HIGH;
  sBreakDeadTimeConfig.BreakFilter = 0;
  sBreakDeadTimeConfig.AutomaticOutput = TIM_AUTOMATICOUTPUT_DISABLE;
  if (HAL_TIMEx_ConfigBreakDeadTime(&htim17, &sBreakDeadTimeConfig) != HAL_OK) {
    Error_Handler();
  }
  HAL_TIM_MspPostInit(&htim17);
}

static void MX_USART2_UART_Init(void)
{

  huart2.Instance = USART2;
  huart2.Init.BaudRate = 115200;
  huart2.Init.WordLength = UART_WORDLENGTH_8B;
  huart2.Init.StopBits = UART_STOPBITS_1;
  huart2.Init.Parity = UART_PARITY_NONE;
  huart2.Init.Mode = UART_MODE_TX_RX;
  huart2.Init.HwFlowCtl = UART_HWCONTROL_NONE;
  huart2.Init.OverSampling = UART_OVERSAMPLING_16;
  huart2.Init.OneBitSampling = UART_ONE_BIT_SAMPLE_DISABLE;
  huart2.AdvancedInit.AdvFeatureInit = UART_ADVFEATURE_NO_INIT;
  if (HAL_UART_Init(&huart2) != HAL_OK) {
    Error_Handler();
  }
}

static void MX_DMA_Init(void)
{
  /* DMA controller clock enable */
  __HAL_RCC_DMA1_CLK_ENABLE();

  /* DMA interrupt init */
  /* DMA1_Channel1_IRQn interrupt configuration */
  HAL_NVIC_SetPriority(DMA1_Channel1_IRQn, 0, 0);
  HAL_NVIC_EnableIRQ(DMA1_Channel1_IRQn);
  /* DMA1_Channel2_IRQn interrupt configuration */
  HAL_NVIC_SetPriority(DMA1_Channel2_IRQn, 0, 0);
  HAL_NVIC_EnableIRQ(DMA1_Channel2_IRQn);
  /* DMA1_Channel3_IRQn interrupt configuration */
  HAL_NVIC_SetPriority(DMA1_Channel3_IRQn, 0, 0);
  HAL_NVIC_EnableIRQ(DMA1_Channel3_IRQn);
  /* DMA1_Channel4_IRQn interrupt configuration */
  HAL_NVIC_SetPriority(DMA1_Channel4_IRQn, 0, 0);
  HAL_NVIC_EnableIRQ(DMA1_Channel4_IRQn);
}

static void MX_GPIO_Init(void)
{
  GPIO_InitTypeDef GPIO_InitStruct = {0};

  /* GPIO Ports Clock Enable */
  __HAL_RCC_GPIOF_CLK_ENABLE();
  __HAL_RCC_GPIOA_CLK_ENABLE();
  __HAL_RCC_GPIOB_CLK_ENABLE();

  /*Configure GPIO pin Output Level */
  HAL_GPIO_WritePin(GPIOA, DIR_L_Pin | DIR_R_Pin | BUZZER_Pin, GPIO_PIN_RESET);

  /*Configure GPIO pin Output Level */
  HAL_GPIO_WritePin(LED_GPIO_Port, LED_Pin, GPIO_PIN_RESET);

  /*Configure GPIO pins : SW1_Pin SW2_Pin */
  GPIO_InitStruct.Pin = SW1_Pin | SW2_Pin;
  GPIO_InitStruct.Mode = GPIO_MODE_INPUT;
  GPIO_InitStruct.Pull = GPIO_PULLUP;
  HAL_GPIO_Init(GPIOF, &GPIO_InitStruct);

  /*Configure GPIO pins : DIR_L_Pin DIR_R_Pin BUZZER_Pin */
  GPIO_InitStruct.Pin = DIR_L_Pin | DIR_R_Pin | BUZZER_Pin;
  GPIO_InitStruct.Mode = GPIO_MODE_OUTPUT_PP;
  GPIO_InitStruct.Pull = GPIO_NOPULL;
  GPIO_InitStruct.Speed = GPIO_SPEED_FREQ_LOW;
  HAL_GPIO_Init(GPIOA, &GPIO_InitStruct);

  /*Configure GPIO pin : LED_Pin */
  GPIO_InitStruct.Pin = LED_Pin;
  GPIO_InitStruct.Mode = GPIO_MODE_OUTPUT_PP;
  GPIO_InitStruct.Pull = GPIO_NOPULL;
  GPIO_InitStruct.Speed = GPIO_SPEED_FREQ_LOW;
  HAL_GPIO_Init(LED_GPIO_Port, &GPIO_InitStruct);

}

void Error_Handler(void)
{
}
